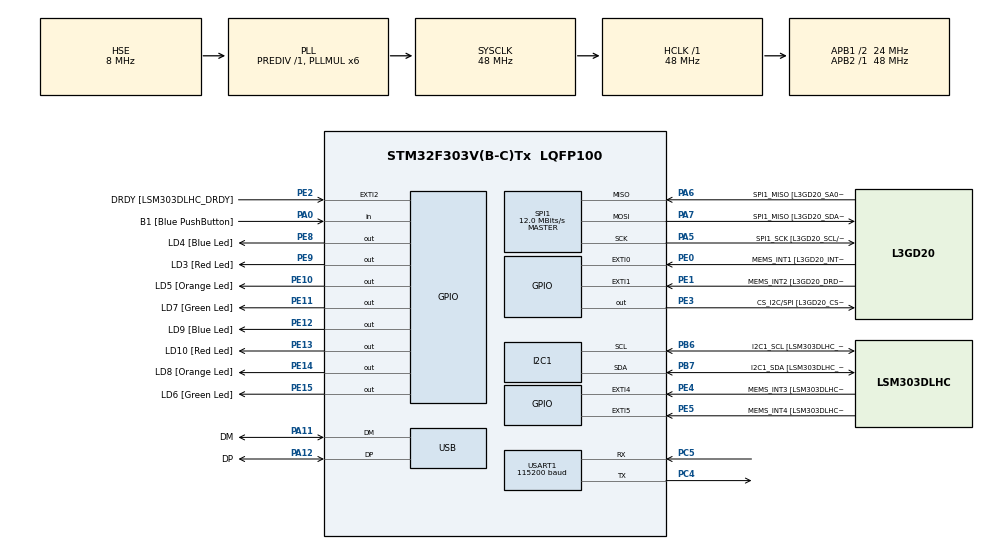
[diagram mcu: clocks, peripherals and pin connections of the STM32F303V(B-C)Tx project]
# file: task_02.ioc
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I2C1.Timing=0x2000090E
I2C1.Timing-I2C=0x2000090E
Mcu.Family=STM32F3
Mcu.Name=STM32F303V(B-C)Tx
Mcu.Package=LQFP100
NVIC.PriorityGroup=NVIC_PRIORITYGROUP_0
PA0.GPIO_Label=B1 [Blue PushButton]
PA0.Signal=GPIO_Input
PA11.GPIO_Label=DM
PA11.Mode=Device
PA11.Signal=USB_DM
PA12.GPIO_Label=DP
PA12.Mode=Device
PA12.Signal=USB_DP
PA13.GPIO_Label=SWDIO
PA13.Mode=Serial_Wire
PA13.Signal=SYS_JTMS-SWDIO
PA14.GPIO_Label=SWCLK
PA14.Mode=Serial_Wire
PA14.Signal=SYS_JTCK-SWCLK
PA5.GPIO_Label=SPI1_SCK [L3GD20_SCL/SPC]
PA5.Mode=Full_Duplex_Master
PA5.Signal=SPI1_SCK
PA6.GPIO_Label=SPI1_MISO [L3GD20_SA0/SDO]
PA6.Mode=Full_Duplex_Master
PA6.Signal=SPI1_MISO
PA7.GPIO_Label=SPI1_MISO [L3GD20_SDA/SDI/SDO]
PA7.Mode=Full_Duplex_Master
PA7.Signal=SPI1_MOSI
PB3.GPIO_Label=SWO
PB3.Signal=SYS_JTDO-TRACESWO
PB6.GPIO_Label=I2C1_SCL [LSM303DLHC_SCL]
PB6.GPIO_Pu=GPIO_PULLUP
PB6.Mode=I2C
PB6.Signal=I2C1_SCL
PB7.GPIO_Label=I2C1_SDA [LSM303DLHC_SDA]
PB7.GPIO_Pu=GPIO_PULLUP
PB7.Mode=I2C
PB7.Signal=I2C1_SDA
PC14-OSC32_IN.GPIO_Label=OSC32_IN
PC14-OSC32_IN.Signal=RCC_OSC32_IN
PC15-OSC32_OUT.GPIO_Label=OSC32_OUT
PC15-OSC32_OUT.Signal=RCC_OSC32_OUT
PC4.Mode=Asynchronous
PC4.Signal=USART1_TX
PC5.Mode=Asynchronous
PC5.Signal=USART1_RX
PE0.GPIO_Label=MEMS_INT1 [L3GD20_INT1]
PE0.GPIO_ModeDefaultEXTI=GPIO_MODE_EVT_RISING
PE0.Signal=GPXTI0
PE1.GPIO_Label=MEMS_INT2 [L3GD20_DRDY/INT2]
PE1.GPIO_ModeDefaultEXTI=GPIO_MODE_EVT_RISING
PE1.Signal=GPXTI1
PE10.GPIO_Label=LD5 [Orange Led]
PE10.Signal=GPIO_Output
PE11.GPIO_Label=LD7 [Green Led]
PE11.Signal=GPIO_Output
PE12.GPIO_Label=LD9 [Blue Led]
PE12.Signal=GPIO_Output
PE13.GPIO_Label=LD10 [Red Led]
PE13.Signal=GPIO_Output
PE14.GPIO_Label=LD8 [Orange Led]
PE14.Signal=GPIO_Output
PE15.GPIO_Label=LD6 [Green Led]
PE15.Signal=GPIO_Output
PE2.GPIO_Label=DRDY [LSM303DLHC_DRDY]
PE2.GPIO_ModeDefaultEXTI=GPIO_MODE_EVT_RISING
PE2.Signal=GPXTI2
PE3.GPIO_Label=CS_I2C/SPI [L3GD20_CS_I2C/SPI]
PE3.Signal=GPIO_Output
PE4.GPIO_Label=MEMS_INT3 [LSM303DLHC_INT1]
PE4.GPIO_ModeDefaultEXTI=GPIO_MODE_EVT_RISING
PE4.Signal=GPXTI4
PE5.GPIO_Label=MEMS_INT4 [LSM303DLHC_INT2]
PE5.GPIO_ModeDefaultEXTI=GPIO_MODE_EVT_RISING
PE5.Signal=GPXTI5
PE8.GPIO_Label=LD4 [Blue Led]
PE8.Signal=GPIO_Output
PE9.GPIO_Label=LD3 [Red Led]
PE9.Signal=GPIO_Output
PF0-OSC_IN.GPIO_Label=OSC_IN
PF0-OSC_IN.Mode=HSE-External-Clock-Source
PF0-OSC_IN.Signal=RCC_OSC_IN
PF1-OSC_OUT.GPIO_Label=OSC_OUT
PF1-OSC_OUT.Signal=RCC_OSC_OUT
ProjectManager.HeapSize=0x200
ProjectManager.StackSize=0x400
ProjectManager.TargetToolchain=CMake
RCC.AHBFreq_Value=48000000
RCC.APB1CLKDivider=RCC_HCLK_DIV2
RCC.APB1Freq_Value=24000000
RCC.APB1TimFreq_Value=48000000
RCC.APB2Freq_Value=48000000
RCC.APB2TimFreq_Value=48000000
RCC.CortexFreq_Value=48000000
RCC.HCLKFreq_Value=48000000
RCC.HSE_VALUE=8000000
RCC.HSI_VALUE=8000000
RCC.LSE_VALUE=32768
RCC.PLLMUL=RCC_PLL_MUL6
RCC.SYSCLKFreq_VALUE=48000000
RCC.SYSCLKSourceVirtual=RCC_SYSCLKSOURCE_PLLCLK
RCC.USBFreq_Value=48000000
SPI1.BaudRatePrescaler=SPI_BAUDRATEPRESCALER_4
SPI1.BaudRatePrescaler-Full_Duplex_Master=SPI_BAUDRATEPRESCALER_2
SPI1.CalculateBaudRate=12.0 MBits/s
SPI1.CalculateBaudRate-Full_Duplex_Master=24.0 MBits/s
SPI1.Direction=SPI_DIRECTION_2LINES
SPI1.Mode=SPI_MODE_MASTER
SPI1.Mode-Full_Duplex_Master=SPI_MODE_MASTER
SPI1.VirtualType=VM_MASTER
USART1.BaudRate=115200
USART1.VirtualMode-Asynchronous=VM_ASYNC
board=STM32F3DISCOVERY

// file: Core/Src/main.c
/* USER CODE BEGIN Header */
/**
  ******************************************************************************
  * @file           : main.c
  * @brief          : Main program body
  ******************************************************************************
  * @attention
  *
  * Copyright (c) 2025 STMicroelectronics.
  * All rights reserved.
  *
  * This software is licensed under terms that can be found in the LICENSE file
  * in the root directory of this software component.
  * If no LICENSE file comes with this software, it is provided AS-IS.
  *
  ******************************************************************************
  */
/* USER CODE END Header */
#include "main.h"
// #include "usb_device.h"

/* USER CODE BEGIN Includes */
#include "heap_driver.h"
#include <string.h>
#include <stdio.h>
/* USER CODE END Includes */

I2C_HandleTypeDef hi2c1;

SPI_HandleTypeDef hspi1;

UART_HandleTypeDef huart1;

void SystemClock_Config(void);
static void MX_GPIO_Init(void);
static void MX_I2C1_Init(void);
static void MX_SPI1_Init(void);
static void MX_USART1_UART_Init(void);

/* USER CODE BEGIN 0 */
void print_uart(const char* msg) {
  HAL_UART_Transmit(&huart1, (uint8_t*)msg, strlen(msg), HAL_MAX_DELAY);
}

/* USER CODE END 0 */

int main(void)
{

  /* MCU Configuration--------------------------------------------------------*/

  /* Reset of all peripherals, Initializes the Flash interface and the Systick. */
  HAL_Init();

  /* Configure the system clock */
  SystemClock_Config();

  /* Initialize all configured peripherals */
  MX_GPIO_Init();
  MX_I2C1_Init();
  MX_SPI1_Init();
  MX_USART1_UART_Init();
  // MX_USB_DEVICE_Init();
  /* USER CODE BEGIN 2 */

  print_uart("=== Custom Heap Driver (Direct SRAM) ===\r\n");

  heap_init();

  char* block1 = (char*)heap_alloc(32);

  char* block2 = (char*)heap_alloc(48);

  if (block1 && block2) {

      strcpy(block1, "Data in Block 1");
      strcpy(block2, "Text from Block 2");

      print_uart(block1);
      print_uart("\r\n");
      print_uart(block2);
      print_uart("\r\n");

  } else {
      print_uart("Allocation failed.\r\n");
  }

  heap_free(block1);
  heap_free(block2);

  print_uart("Blocks freed.\r\n");

  /* USER CODE END 2 */

  /* Infinite loop */
  while (1)
  {

  }
}

void SystemClock_Config(void)
{
  RCC_OscInitTypeDef RCC_OscInitStruct = {0};
  RCC_ClkInitTypeDef RCC_ClkInitStruct = {0};
  RCC_PeriphCLKInitTypeDef PeriphClkInit = {0};

  /** Initializes the RCC Oscillators according to the specified parameters
  * in the RCC_OscInitTypeDef structure.
  */
  RCC_OscInitStruct.OscillatorType = RCC_OSCILLATORTYPE_HSI|RCC_OSCILLATORTYPE_HSE;
  RCC_OscInitStruct.HSEState = RCC_HSE_BYPASS;
  RCC_OscInitStruct.HSEPredivValue = RCC_HSE_PREDIV_DIV1;
  RCC_OscInitStruct.HSIState = RCC_HSI_ON;
  RCC_OscInitStruct.HSICalibrationValue = RCC_HSICALIBRATION_DEFAULT;
  RCC_OscInitStruct.PLL.PLLState = RCC_PLL_ON;
  RCC_OscInitStruct.PLL.PLLSource = RCC_PLLSOURCE_HSE;
  RCC_OscInitStruct.PLL.PLLMUL = RCC_PLL_MUL6;
  if (HAL_RCC_OscConfig(&RCC_OscInitStruct) != HAL_OK)
  {
    Error_Handler();
  }

  /** Initializes the CPU, AHB and APB buses clocks
  */
  RCC_ClkInitStruct.ClockType = RCC_CLOCKTYPE_HCLK|RCC_CLOCKTYPE_SYSCLK
                              |RCC_CLOCKTYPE_PCLK1|RCC_CLOCKTYPE_PCLK2;
  RCC_ClkInitStruct.SYSCLKSource = RCC_SYSCLKSOURCE_PLLCLK;
  RCC_ClkInitStruct.AHBCLKDivider = RCC_SYSCLK_DIV1;
  RCC_ClkInitStruct.APB1CLKDivider = RCC_HCLK_DIV2;
  RCC_ClkInitStruct.APB2CLKDivider = RCC_HCLK_DIV1;

  if (HAL_RCC_ClockConfig(&RCC_ClkInitStruct, FLASH_LATENCY_1) != HAL_OK)
  {
    Error_Handler();
  }
  PeriphClkInit.PeriphClockSelection = RCC_PERIPHCLK_USB|RCC_PERIPHCLK_USART1
                              |RCC_PERIPHCLK_I2C1;
  PeriphClkInit.Usart1ClockSelection = RCC_USART1CLKSOURCE_PCLK2;
  PeriphClkInit.I2c1ClockSelection = RCC_I2C1CLKSOURCE_HSI;
  PeriphClkInit.USBClockSelection = RCC_USBCLKSOURCE_PLL;
  if (HAL_RCCEx_PeriphCLKConfig(&PeriphClkInit) != HAL_OK)
  {
    Error_Handler();
  }
}

static void MX_I2C1_Init(void)
{

  hi2c1.Instance = I2C1;
  hi2c1.Init.Timing = 0x2000090E;
  hi2c1.Init.OwnAddress1 = 0;
  hi2c1.Init.AddressingMode = I2C_ADDRESSINGMODE_7BIT;
  hi2c1.Init.DualAddressMode = I2C_DUALADDRESS_DISABLE;
  hi2c1.Init.OwnAddress2 = 0;
  hi2c1.Init.OwnAddress2Masks = I2C_OA2_NOMASK;
  hi2c1.Init.GeneralCallMode = I2C_GENERALCALL_DISABLE;
  hi2c1.Init.NoStretchMode = I2C_NOSTRETCH_DISABLE;
  if (HAL_I2C_Init(&hi2c1) != HAL_OK)
  {
    Error_Handler();
  }

  /** Configure Analogue filter
  */
  if (HAL_I2CEx_ConfigAnalogFilter(&hi2c1, I2C_ANALOGFILTER_ENABLE) != HAL_OK)
  {
    Error_Handler();
  }

  /** Configure Digital filter
  */
  if (HAL_I2CEx_ConfigDigitalFilter(&hi2c1, 0) != HAL_OK)
  {
    Error_Handler();
  }

}

static void MX_SPI1_Init(void)
{

  /* SPI1 parameter configuration*/
  hspi1.Instance = SPI1;
  hspi1.Init.Mode = SPI_MODE_MASTER;
  hspi1.Init.Direction = SPI_DIRECTION_2LINES;
  hspi1.Init.DataSize = SPI_DATASIZE_4BIT;
  hspi1.Init.CLKPolarity = SPI_POLARITY_LOW;
  hspi1.Init.CLKPhase = SPI_PHASE_1EDGE;
  hspi1.Init.NSS = SPI_NSS_SOFT;
  hspi1.Init.BaudRatePrescaler = SPI_BAUDRATEPRESCALER_4;
  hspi1.Init.FirstBit = SPI_FIRSTBIT_MSB;
  hspi1.Init.TIMode = SPI_TIMODE_DISABLE;
  hspi1.Init.CRCCalculation = SPI_CRCCALCULATION_DISABLE;
  hspi1.Init.CRCPolynomial = 7;
  hspi1.Init.CRCLength = SPI_CRC_LENGTH_DATASIZE;
  hspi1.Init.NSSPMode = SPI_NSS_PULSE_ENABLE;
  if (HAL_SPI_Init(&hspi1) != HAL_OK)
  {
    Error_Handler();
  }

}

static void MX_USART1_UART_Init(void)
{

  huart1.Instance = USART1;
  huart1.Init.BaudRate = 115200;
  huart1.Init.WordLength = UART_WORDLENGTH_8B;
  huart1.Init.StopBits = UART_STOPBITS_1;
  huart1.Init.Parity = UART_PARITY_NONE;
  huart1.Init.Mode = UART_MODE_TX_RX;
  huart1.Init.HwFlowCtl = UART_HWCONTROL_NONE;
  huart1.Init.OverSampling = UART_OVERSAMPLING_16;
  huart1.Init.OneBitSampling = UART_ONE_BIT_SAMPLE_DISABLE;
  huart1.AdvancedInit.AdvFeatureInit = UART_ADVFEATURE_NO_INIT;
  if (HAL_UART_Init(&huart1) != HAL_OK)
  {
    Error_Handler();
  }

}

static void MX_GPIO_Init(void)
{
  GPIO_InitTypeDef GPIO_InitStruct = {0};

  /* GPIO Ports Clock Enable */
  __HAL_RCC_GPIOE_CLK_ENABLE();
  __HAL_RCC_GPIOC_CLK_ENABLE();
  __HAL_RCC_GPIOF_CLK_ENABLE();
  __HAL_RCC_GPIOA_CLK_ENABLE();
  __HAL_RCC_GPIOB_CLK_ENABLE();

  /*Configure GPIO pin Output Level */
  HAL_GPIO_WritePin(GPIOE, CS_I2C_SPI_Pin|LD4_Pin|LD3_Pin|LD5_Pin
                          |LD7_Pin|LD9_Pin|LD10_Pin|LD8_Pin
                          |LD6_Pin, GPIO_PIN_RESET);

  /*Configure GPIO pins : DRDY_Pin MEMS_INT3_Pin MEMS_INT4_Pin MEMS_INT1_Pin
                           MEMS_INT2_Pin */
  GPIO_InitStruct.Pin = DRDY_Pin|MEMS_INT3_Pin|MEMS_INT4_Pin|MEMS_INT1_Pin
                          |MEMS_INT2_Pin;
  GPIO_InitStruct.Mode = GPIO_MODE_EVT_RISING;
  GPIO_InitStruct.Pull = GPIO_NOPULL;
  HAL_GPIO_Init(GPIOE, &GPIO_InitStruct);

  /*Configure GPIO pins : CS_I2C_SPI_Pin LD4_Pin LD3_Pin LD5_Pin
                           LD7_Pin LD9_Pin LD10_Pin LD8_Pin
                           LD6_Pin */
  GPIO_InitStruct.Pin = CS_I2C_SPI_Pin|LD4_Pin|LD3_Pin|LD5_Pin
                          |LD7_Pin|LD9_Pin|LD10_Pin|LD8_Pin
                          |LD6_Pin;
  GPIO_InitStruct.Mode = GPIO_MODE_OUTPUT_PP;
  GPIO_InitStruct.Pull = GPIO_NOPULL;
  GPIO_InitStruct.Speed = GPIO_SPEED_FREQ_LOW;
  HAL_GPIO_Init(GPIOE, &GPIO_InitStruct);

  /*Configure GPIO pin : B1_Pin */
  GPIO_InitStruct.Pin = B1_Pin;
  GPIO_InitStruct.Mode = GPIO_MODE_INPUT;
  GPIO_InitStruct.Pull = GPIO_NOPULL;
  HAL_GPIO_Init(B1_GPIO_Port, &GPIO_InitStruct);

}

void Error_Handler(void)
{
  __disable_irq();
  while (1)
  {
  }
}
